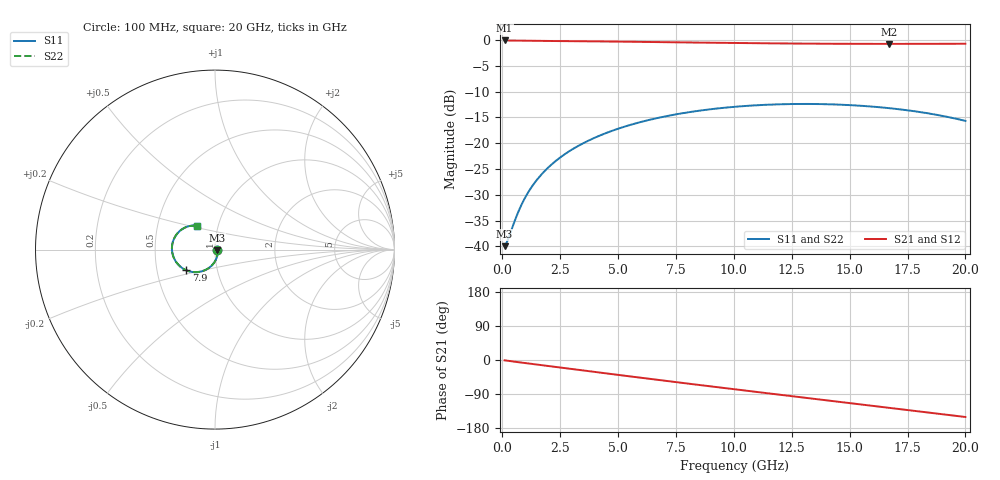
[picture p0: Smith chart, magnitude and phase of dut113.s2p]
! Touchstone file exported from HFSS 2026.1.0
!  File:  C:/ffzhzh/LocalFiles/Ansys_Project_Files/temp_train_TSV_RDL_113_1783046471_45820.aedt
!  Generated:  10:51:08 AM Jul  3, 2026
!  Design:  TSV_RDL
!  Project:  temp_train_TSV_RDL_113_1783046471_45820
! Variables:
!  h_bsmrdl = 2.11um
!  h_ox = 20um
!  h_rdl = 5um
!  h_sub = 92.92um
!  h_tmrdl = 2.45um
!  h_tsv = 92.92um
!  h_via = 3um
!  l_bsmrdl = 234.25um
!  l_sub = 2060.5um
!  l_tmrdl = 197.61um
!  m_sub = 200um
!  pitch = 33.37um
!  r_tsv = 14.47um
!  s_tmrdl = 10um
!  w_bsmrdl = 26.33um
!  w_sub = 500um
!  w_tmrdl = 29.44um
!  x_tsv_center1 = 212.33um
!  x_tsv_center2 = 472.91um
!  x_tsv_center3 = 699.96um
!  x_tsv_center4 = 960.54um
!  x_tsv_center5 = 1187.59um
!  x_tsv_center6 = 1448.17um
# GHz S MA R 50.000000
! Terminal data exported
! Port[1] = TM_RDL1_1_T1
! Port[2] = TM_RDL5_1_T1
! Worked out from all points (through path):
!   200 points, 100 MHz to 20 GHz, reference 50 ohm
!   highest |S21| = -0.09 dB at 100 MHz (marker M1); lowest = -0.8 dB at 16.7 GHz (marker M2)
!   group delay of S21, straight-line fit = 20.7 ps
!   lowest |S11| = -39.9 dB at 100 MHz (marker M3), VSWR 1.02, Z = 51 - j0.154 ohm
!   |S11| at or under -10 dB: start of sweep to end of sweep
!   |S22| runs from -39.9 to -12.4 dB; largest |S21 - S12| = 1.6e-14
!   S11 on the Smith chart (normalised r, x): 100 MHz: 1.02, -0.00; 7.9 GHz: 0.71, -0.17; 20 GHz: 0.80, +0.22
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0.1  0.01006 -8.6  0.99 -0.9  0.99 -0.9  0.01006 -8.6
! Gamma 0 0 0 0
! Port Impedance 50 0 50 0
0.2  0.01105 -17.1  0.9893 -1.8  0.9893 -1.8  0.01105 -17.1
0.6  0.01924 -45.5  0.9853 -5.0  0.9853 -5.0  0.01924 -45.5
0.8  0.02453 -55.4  0.9836 -6.6  0.9836 -6.6  0.02454 -55.4
1.1  0.03291 -66.5  0.9819 -8.9  0.9819 -8.9  0.03291 -66.5
1.4  0.04147 -74.7  0.9806 -11.3  0.9806 -11.3  0.04147 -74.7
1.8  0.05292 -83.0  0.9791 -14.4  0.9791 -14.4  0.05292 -83.0
2.3  0.06711 -91.0  0.9774 -18.3  0.9774 -18.3  0.06711 -91.0
2.9  0.08384 -98.7  0.9751 -23.0  0.9751 -23.0  0.08384 -98.7
3.5  0.1001 -105.4  0.9726 -27.7  0.9726 -27.7  0.1001 -105.4
4.2  0.1184 -112.5  0.9693 -33.1  0.9693 -33.1  0.1184 -112.5
5  0.1382 -119.9  0.9651 -39.3  0.9651 -39.3  0.1382 -119.9
6.8  0.1774 -135.3  0.9545 -53.1  0.9545 -53.1  0.1774 -135.3
7.9  0.1972 -144.2  0.9478 -61.4  0.9478 -61.4  0.1972 -144.2
9  0.2135 -152.9  0.9412 -69.6  0.9412 -69.6  0.2135 -152.8
10.1  0.226 -161.3  0.9351 -77.8  0.9351 -77.8  0.226 -161.3
11.7  0.2372 -173.4  0.9275 -89.5  0.9275 -89.5  0.2372 -173.4
13.4  0.24 174.0  0.9216 -102.0  0.9216 -102.0  0.24 174.1
15  0.234 162.4  0.9182 -113.6  0.9182 -113.6  0.234 162.4
16.7  0.2188 150.0  0.9171 -126.0  0.9171 -126.0  0.2187 150.1
18.3  0.1963 138.5  0.9179 -137.8  0.9179 -137.8  0.1963 138.6
20  0.1645 126.3  0.9201 -150.4  0.9201 -150.4  0.1645 126.4
